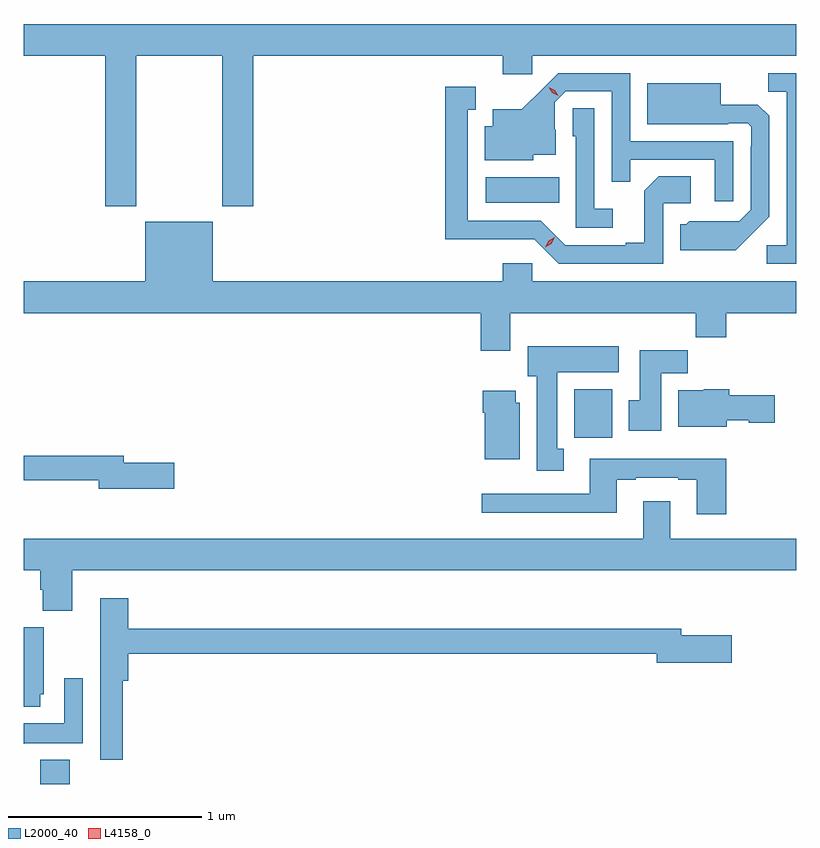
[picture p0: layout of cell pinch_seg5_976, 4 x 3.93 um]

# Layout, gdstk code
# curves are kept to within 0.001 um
import gdstk
lib = gdstk.Library(unit=1e-6, precision=1e-09)
def R(c, l, rs):  # rectangles x0, y0, x1, y1
    for r in rs: c.add(gdstk.rectangle(r[:2], r[2:], *l))
def P(c, l, *ps):  # polygons
    for p in ps: c.add(gdstk.Polygon(p, *l))
L2000_40 = (2000, 40)
L4158_0 = (4158, 0)

pinch_seg5_976 = lib.new_cell('pinch_seg5_976')
R(pinch_seg5_976, L2000_40, [(723.593,894.283,723.745,894.409), (726.357,896.076,726.553,896.326), (725.898,897.29,726.278,897.424)])
P(pinch_seg5_976, L2000_40, [(724.089,898.052),(724.534,898.052),(724.534,897.273),(724.694,897.273),(724.694,898.052),(725.987,898.052),(725.987,897.957),(726.138,897.957),(726.138,898.052),(727.506,898.052),(727.506,898.216),(723.506,898.216),(723.506,898.052),(723.929,898.052),(723.929,897.273),(724.089,897.273)],
  [(727.506,897.96),(727.36,897.96),(727.36,897.865),(727.455,897.865),(727.455,897.072),(727.353,897.072),(727.353,896.976),(727.506,896.976)],
  [(727.179,897.609),(726.645,897.609),(726.645,897.96),(726.272,897.96),(726.085,897.775),(725.933,897.775),(725.933,897.688),(725.894,897.688),(725.894,897.512),(726.144,897.512),(726.144,897.539),(726.259,897.539),(726.259,897.668),(726.255,897.668),(726.255,897.81),(726.312,897.867),(726.549,897.867),(726.549,897.4),(726.647,897.4),(726.647,897.513),(727.083,897.513),(727.083,897.3),(727.179,897.3)],
  [(727.273,897.125),(727.365,897.218),(727.365,897.74),(727.306,897.799),(727.114,897.799),(727.114,897.91),(726.734,897.91),(726.734,897.698),(727.154,897.698),(727.154,897.702),(727.254,897.702),(727.272,897.684),(727.272,897.584),(727.269,897.584),(727.269,897.255),(727.209,897.195),(726.952,897.196),(726.936,897.18),(726.905,897.18),(726.905,897.044),(727.193,897.044)],
  [(726.816,897.288),(726.958,897.288),(726.958,897.428),(726.793,897.428),(726.717,897.352),(726.717,897.085),(726.623,897.085),(726.623,897.072),(726.309,897.072),(726.183,897.198),(725.806,897.198),(725.806,897.771),(725.845,897.771),(725.845,897.892),(725.688,897.892),(725.688,897.101),(726.15,897.102),(726.276,896.976),(726.816,896.976)],
  [(726.556,897.259),(726.459,897.259),(726.459,897.779),(726.348,897.779),(726.348,897.636),(726.363,897.636),(726.363,897.162),(726.556,897.162)],
  [(726.025,896.72),(726.985,896.72),(726.985,896.596),(727.142,896.596),(727.142,896.72),(727.506,896.72),(727.506,896.884),(726.138,896.884),(726.138,896.977),(725.987,896.977),(725.987,896.884),(724.486,896.884),(724.486,897.193),(724.136,897.193),(724.136,896.884),(723.506,896.884),(723.506,896.72),(725.873,896.72),(725.873,896.526),(726.025,896.526)],
  [(726.301,896.017),(726.268,896.017),(726.268,896.414),(726.586,896.414),(726.586,896.548),(726.116,896.548),(726.116,896.394),(726.161,896.394),(726.161,895.905),(726.301,895.905)],
  [(726.805,896.408),(726.944,896.408),(726.944,896.527),(726.695,896.527),(726.695,896.268),(726.638,896.268),(726.638,896.112),(726.805,896.112)],
  [(727.144,896.165),(727.26,896.165),(727.26,896.153),(727.393,896.153),(727.393,896.295),(727.157,896.295),(727.157,896.326),(727.026,896.326),(727.026,896.32),(726.893,896.32),(726.893,896.132),(727.144,896.132)],
  [(726.073,896.256),(726.052,896.256),(726.052,896.317),(725.882,896.317),(725.882,896.204),(725.894,896.204),(725.894,895.964),(726.073,895.964)],
  [(724.285,895.946),(724.024,895.946),(724.024,895.982),(723.506,895.982),(723.506,895.854),(723.896,895.854),(723.896,895.811),(724.285,895.811)],
  [(727.142,895.966),(726.437,895.966),(726.437,895.785),(725.877,895.785),(725.877,895.688),(726.577,895.688),(726.577,895.857),(726.673,895.857),(726.673,895.869),(726.893,895.869),(726.893,895.857),(726.989,895.857),(726.989,895.68),(727.142,895.68)],
  [(723.758,895.388),(727.506,895.388),(727.506,895.552),(726.853,895.552),(726.853,895.747),(726.713,895.747),(726.713,895.552),(723.506,895.552),(723.506,895.388),(723.593,895.388),(723.593,895.289),(723.605,895.289),(723.605,895.18),(723.758,895.18)],
  [(724.019,894.818),(724.049,894.818),(724.049,894.958),(726.782,894.958),(726.782,894.911),(727.171,894.911),(727.171,895.053),(726.91,895.053),(726.91,895.087),(724.049,895.087),(724.049,895.243),(723.902,895.243),(723.902,894.981),(723.903,894.981),(723.903,894.408),(724.019,894.408)],
  [(723.592,894.747),(723.61,894.747),(723.61,895.095),(723.506,895.095),(723.506,894.684),(723.592,894.684)],
  [(723.509,894.494),(723.813,894.494),(723.813,894.829),(723.717,894.829),(723.717,894.598),(723.506,894.598),(723.506,894.492),(723.509,894.492)])
P(pinch_seg5_976, L4158_0, [(726.272,897.844),(726.242,897.859),(726.224,897.889),(726.224,897.889),(726.225,897.889),(726.255,897.874),(726.272,897.844),(726.272,897.844)],
  [(726.205,897.061),(726.205,897.061),(726.223,897.094),(726.255,897.113),(726.255,897.113),(726.255,897.112),(726.237,897.08),(726.206,897.061)])

lib.write_gds('pinch_seg5_976.gds')
